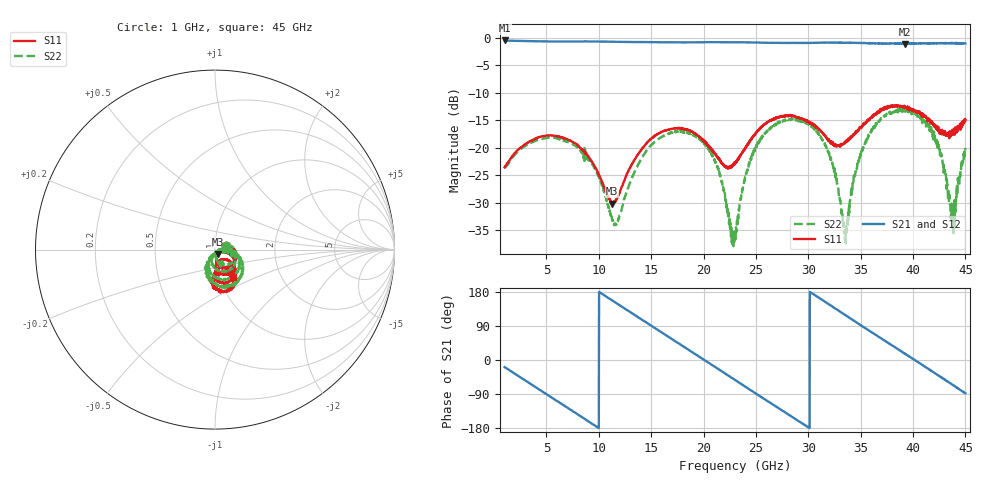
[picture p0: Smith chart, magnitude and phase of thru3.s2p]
!Keysight Technologies,N5247B,MY61255062,A.19.80.06
!Date: Thursday, May 21, 2026 11:53:28
!Correction: S11(Cdelta 2-Port  )
!S21(Cdelta 2-Port  )
!S12(Cdelta 2-Port  )
!S22(Cdelta 2-Port  )
!S2P File: Measurements: S11, S21, S12, S22:
# Hz S  dB  R 50
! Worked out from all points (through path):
!   1601 points, 1 GHz to 45 GHz, reference 50 ohm
!   highest |S21| = -0.47 dB at 1 GHz (marker M1); lowest = -1.1 dB at 39.25 GHz (marker M2)
!   group delay of S21, straight-line fit = 49.8 ps
!   lowest |S11| = -30.2 dB at 11.29 GHz (marker M3), VSWR 1.06, Z = 51.8 - j2.56 ohm
!   |S11| at or under -10 dB: start of sweep to end of sweep
!   |S22| runs from -37.9 to -12.9 dB; largest |S21 - S12| = 0.016
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1e9  -23.56 17.1  -0.47 -18.7  -0.48 -18.7  -23.70 17.8
4.74e9  -17.87 -22.8  -0.64 -85.7  -0.65 -85.7  -18.30 -16.2
6.5e9  -18.12 -48.0  -0.66 -116.9  -0.67 -117.0  -18.55 -40.3
8.3425e9  -20.24 -72.0  -0.67 -150.1  -0.67 -150.1  -20.90 -65.0
1.1285e10  -30.19 -52.9  -0.71 157.0  -0.71 157.0  -33.31 -57.8
1.36225e10  -21.56 -17.0  -0.76 115.3  -0.77 115.2  -23.56 5.0
1.5685e10  -17.44 -37.5  -0.80 78.4  -0.80 78.3  -18.43 -19.8
1.9535e10  -17.94 -80.4  -0.81 9.8  -0.82 9.8  -18.20 -78.5
2.12675e10  -21.48 -84.4  -0.78 -21.3  -0.78 -21.3  -23.38 -105.2
2.3e10  -22.75 -48.8  -0.80 -52.5  -0.81 -52.6  -35.26 -29.5
2.41825e10  -19.49 -39.4  -0.82 -73.9  -0.83 -74.0  -24.24 8.1
2.56125e10  -16.07 -45.1  -0.88 -99.6  -0.88 -99.7  -18.10 -13.6
2.8225e10  -14.04 -71.1  -0.92 -146.0  -0.94 -146.1  -14.87 -56.3
3.03425e10  -15.83 -88.2  -0.91 176.4  -0.91 176.2  -16.12 -89.3
3.22125e10  -18.83 -85.3  -0.87 142.6  -0.87 142.4  -22.47 -114.6
3.35325e10  -19.18 -63.4  -0.90 118.6  -0.90 118.4  -35.03 -57.9
3.51e10  -16.32 -53.1  -0.96 90.1  -0.93 90.2  -20.99 -1.4
3.7685e10  -12.58 -68.2  -1.02 43.9  -1.05 43.9  -13.73 -42.7
3.92525e10  -12.57 -82.0  -1.10 16.3  -1.06 16.0  -13.22 -70.4
4.22225e10  -16.01 -89.5  -1.02 -37.1  -0.97 -37.3  -19.33 -112.1
4.37625e10  -16.71 -67.9  -0.94 -65.3  -0.94 -65.3  -30.28 -75.2
4.5e10  -14.92 -56.8  -1.01 -87.9  -1.04 -88.2  -20.04 -9.4
